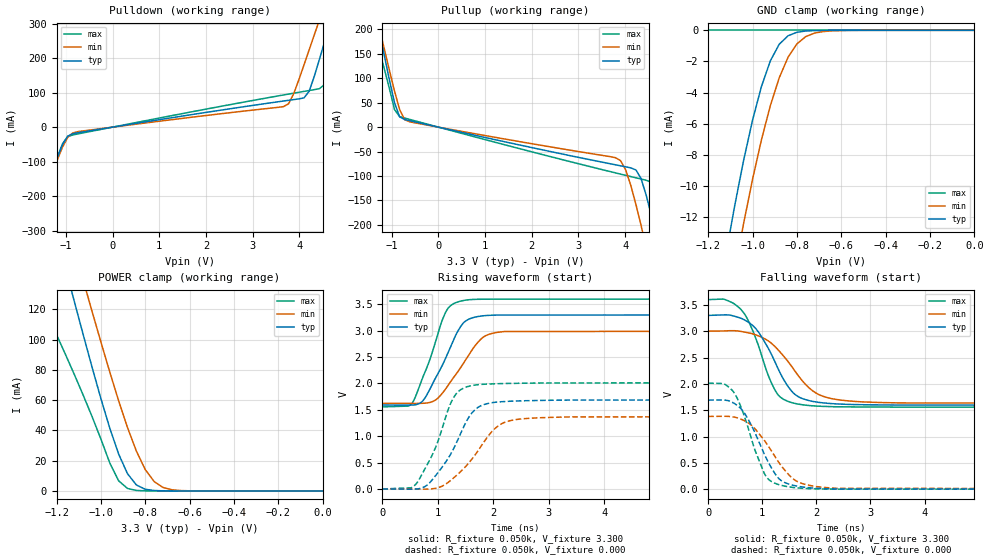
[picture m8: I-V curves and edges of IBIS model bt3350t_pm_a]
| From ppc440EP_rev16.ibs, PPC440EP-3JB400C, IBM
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| [File]   bt3350t_pm_a.ibs
| [File Rev]   1.4
| [Date]   Sat Aug 17 05:29:23 EDT 2002
| [Source]   File originated at IMD in Burlington, VT USA
[Model]   bt3350t_pm_a
Model_type   I/O
Vinl  = 0.8V
Vinh  = 2.0V
Vref  = 0.0V
Rref  = 1e20k
Cref  = 50pF
Vmeas = 1.65V
| Values for delay from A to PAD (Tdo) are determined using
| Vref, Cref, Rref, and Vmeas.
|   INPUT TRANSITION ON DRIVER INPUT = 0.1ns
|   typ   min   max
| Tdo (rise)   1.72n   1.33n   2.28n
| Tdo (fall)   1.63n   1.36n   1.98n
|   INPUT TRANSITION ON DRIVER INPUT = 1.0ns
|   typ   min   max
| Tdo (rise)   1.78n   1.36n   2.36n
| Tdo (fall)   1.73n   1.44n   2.10n
|   typ   min   max
C_comp   1.00pF   0.98pF  1.01pF
[Temperature Range]   50.00   125.00   0.00
[Voltage Range]   3.300   3.000   3.600
|   typ   min   max
|[Supply]   VDD   1.5   1.4   1.6
|[Supply]   VDD330   3.30   3.00   3.60
[Add Submodel]
| Submodel Name   Mode
Up.bt3350t_pm_a   Non-Driving
Dn.bt3350t_pm_a   Non-Driving
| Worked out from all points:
|   slope of the pulldown table from 0 to 0.495 V, typ, clamps not added: 45.9 ohm
|   slope of the pullup table from 0 to 0.495 V, typ, clamps not added: 47 ohm
|   GND clamp passes 1 mA (typ) near -0.88 V on its own axis
|   POWER clamp passes 1 mA (typ) near -0.80 V on its own axis
|   rising waveform, R_fixture 0.050k, V_fixture 3.300: 20-80 % time 467ps typ, 537ps min, 402ps max; typ from 1.59 V to 3.3 V
|   falling waveform, R_fixture 0.050k, V_fixture 3.300: 20-80 % time 543ps typ, 676ps min, 449ps max; typ from 3.3 V to 1.59 V
|   rising waveform, R_fixture 0.050k, V_fixture 0.000: 20-80 % time 532ps typ, 632ps min, 448ps max; typ from 0 V to 1.69 V
|   falling waveform, R_fixture 0.050k, V_fixture 0.000: 20-80 % time 483ps typ, 588ps min, 410ps max; typ from 1.69 V to 0 V
[Pullup]   | Note: Vtable = Vcc - Vout
| Voltage   I(typ)   I(min)   I(max)
-3.6V     1.23A      1.101A     1.053A
-1.49V    298.9mA    292.1mA    231.3mA
-1.27V    198mA      204.6mA    158.3mA
-830mV    20.94mA    35.82mA    21.61mA
-610mV    13.07mA    10.76mA    15.71mA
3.79V     -77.04mA   -62.46mA   -93.55mA
4.01V     -81.15mA   -87.34mA   -98.64mA
4.23V     -87.6mA    -158.2mA   -103.7mA
4.45V     -139.3mA   -246.1mA   -108.7mA
4.67V     -226.3mA   -340.2mA   -131.6mA
4.89V     -322.5mA   -437.6mA   -212.7mA
7.2V      -1.412A    -1.504A    -1.316A
[Pulldown]   | Note: Vtable = Vout
| Voltage   I(typ)   I(min)   I(max)
-3.6V     -1.224A    -1.195A    -1.25A
-1.73V    -326mA     -323mA     -331.6mA
-1.62V    -275.7mA   -274.5mA   -279.8mA
-1.07V    -50.28mA   -57.24mA   -47.86mA
-850mV    -18.84mA   -16.76mA   -22.59mA
3.66V     75.81mA    59.51mA    93.36mA
3.88V     79.95mA    97.38mA    98.59mA
4.1V      85.02mA    180.9mA    103.8mA
4.43V     197.1mA    311.1mA    111.5mA
4.65V     297.5mA    396.8mA    166.2mA
5.09V     495.5mA    565.3mA    317.1mA
7.2V      1.395A     1.337A     1.116A
[POWER_Clamp]   | Note: Vtable = Vcc - Vout
| Voltage   I(typ)   I(min)   I(max)
-3.6V     1.491A     1.456A     1.125A
-1.28V    214.6mA    244.6mA    128.5mA
-1.12V    125.3mA    160.2mA    76.98mA
-1.08V    103.4mA    139.4mA    63.34mA
-1.04V    81.84mA    118.7mA    49.19mA
-960mV    41.52mA    78.57mA    18.49mA
-920mV    24.37mA    59.55mA    6.672mA
-880mV    11.36mA    41.85mA    1.628mA
-800mV    1.083mA    14.1mA     60uA
-760mV    268uA      6.215mA    11uA
-640mV    4uA        241uA      0A
0V        0A         0A         0A
[GND_Clamp]   | Note: Vtable = Vout
| Voltage   I(typ)   I(min)   I(max)
-3.6V     -278.4mA   -280.5mA   0A
-1.12V    -14.38mA   -18.65mA   0A
-1.08V    -11.22mA   -15.42mA   0A
-1.04V    -8.327mA   -12.37mA   0A
-960mV    -3.61mA    -7.033mA   0A
-920mV    -1.965mA   -4.843mA   0A
-880mV    -898uA     -3.056mA   0A
-840mV    -350uA     -1.729mA   0A
-800mV    -125uA     -871uA     0A
-760mV    -44uA      -400uA     0A
-680mV    -6uA       -76uA      0A
0V        0A         0A         0A
[Ramp]
| variable   typ   min   max
  dV/dt_r   1.01/0.53n   0.83/0.63n   1.21/0.45n
  dV/dt_f   1.03/0.54n   0.83/0.68n   1.23/0.45n
R_load = 0.050k
[Rising Waveform]
R_fixture = 0.050k
V_fixture = 3.300
V_fixture_min = 3.000
V_fixture_max = 3.600
|   time   V(typ)   V(min)   V(max)
0s        1.591V     1.622V     1.556V
500ps     1.59V      1.622V     1.589V
720ps     1.661V     1.624V     2.091V
950ps     2.086V     1.681V     2.761V
1.16ns    2.525V     1.925V     3.386V
1.37ns    3.008V     2.236V     3.549V
1.57ns    3.224V     2.558V     3.588V
1.84ns    3.285V     2.892V     3.597V
2.21ns    3.297V     2.985V     3.599V
19.9ns    3.3V       3V         3.6V
[Falling Waveform]
R_fixture = 0.050k
V_fixture = 3.300
V_fixture_min = 3.000
V_fixture_max = 3.600
|   time   V(typ)   V(min)   V(max)
0s        3.3V       3V         3.6V
490ps     3.283V     3.009V     3.513V
680ps     3.209V     2.982V     3.314V
820ps     3.111V     2.95V      3.017V
1.27ns    2.337V     2.67V      1.822V
1.54ns    1.864V     2.336V     1.645V
1.82ns    1.694V     1.968V     1.593V
2.26ns    1.626V     1.724V     1.568V
3.33ns    1.599V     1.642V     1.559V
19.9ns    1.591V     1.622V     1.556V
[Rising Waveform]
R_fixture = 0.050k
V_fixture = 0.000
V_fixture_min = 0.000
V_fixture_max = 0.000
|   time   V(typ)   V(min)   V(max)
0s        0V         0V         0V
520ps     -4mV       0V         22mV
810ps     75mV       -3mV       463mV
970ps     266mV      16mV       812mV
1.3ns     796mV      223mV      1.757V
1.52ns    1.29V      447mV      1.935V
1.69ns    1.521V     671mV      1.973V
2.15ns    1.654V     1.236V     1.997V
2.87ns    1.679V     1.351V     2.008V
19.9ns    1.691V     1.381V     2.013V
[Falling Waveform]
R_fixture = 0.050k
V_fixture = 0.000
V_fixture_min = 0.000
V_fixture_max = 0.000
|   time   V(typ)   V(min)   V(max)
0s        1.691V     1.381V     2.013V
330ps     1.688V     1.384V     1.977V
470ps     1.635V     1.37V      1.844V
600ps     1.535V     1.332V     1.575V
870ps     1.06V      1.142V     726mV
1.07ns    595mV      879mV      243mV
1.31ns    197mV      502mV      84mV
1.58ns    71mV       188mV      31mV
2.39ns    4mV        16mV       1mV
19.9ns    0V         0V         0V
